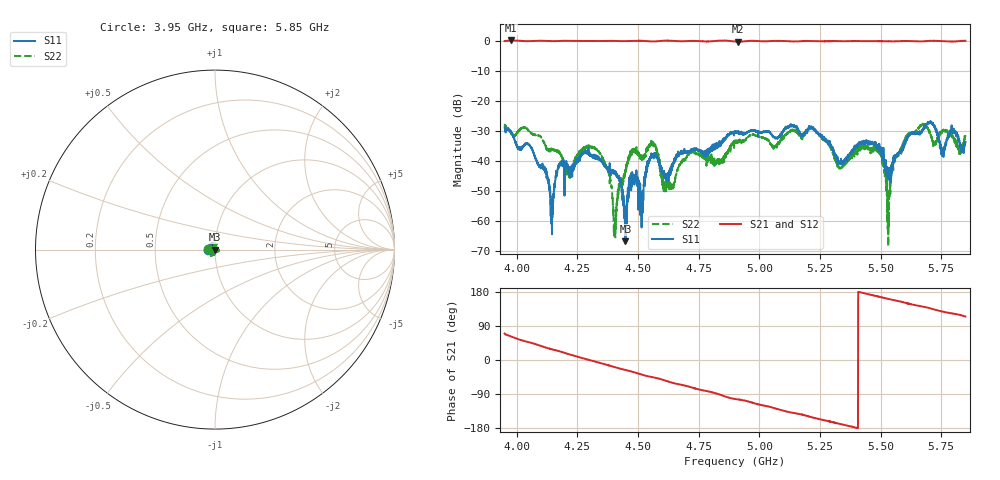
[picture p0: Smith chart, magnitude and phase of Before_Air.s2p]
# GHZ S RI R 50.000000000000
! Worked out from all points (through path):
!   4501 points, 3.95 GHz to 5.85 GHz, reference 50 ohm
!   highest |S21| = 0.06 dB at 3.977 GHz (marker M1); lowest = -0.3 dB at 4.913 GHz (marker M2)
!   group delay of S21, straight-line fit = 451 ps
!   lowest |S11| = -66.6 dB at 4.448 GHz (marker M3), VSWR 1.00, Z = 50 - j0.0173 ohm
!   |S11| at or under -10 dB: start of sweep to end of sweep
!   |S22| runs from -68.3 to -27.4 dB; largest |S21 - S12| = 0.051
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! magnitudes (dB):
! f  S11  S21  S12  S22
! 3.95 GHz  -28.7  -0.1  -0.2  -28.0
! 3.977 GHz  -30.2  0.1  0.0  -30.5
! 4.113 GHz  -42.2  -0.1  -0.1  -34.1
! 4.144 GHz  -58.9  -0.2  -0.2  -36.2
! 4.177 GHz  -41.5  -0.1  -0.1  -37.7
! 4.267 GHz  -38.1  -0.1  -0.1  -36.6
! 4.356 GHz  -40.9  -0.1  -0.1  -39.4
! 4.405 GHz  -43.3  -0.1  -0.1  -65.7
! 4.448 GHz  -66.6  -0.2  -0.2  -44.3
! 4.472 GHz  -46.3  -0.1  -0.1  -38.1
! 4.514 GHz  -57.6  -0.1  -0.1  -38.7
! 4.548 GHz  -39.4  -0.2  -0.2  -34.5
! 4.584 GHz  -39.9  -0.2  -0.2  -38.5
! 4.638 GHz  -41.8  0.0  0.0  -49.0
! 4.9 GHz  -30.4  -0.3  -0.2  -33.4
! 4.913 GHz  -30.2  -0.3  -0.3  -33.2
! 5.217 GHz  -28.9  -0.1  -0.1  -29.3
! 5.334 GHz  -40.2  -0.2  -0.2  -42.5
! 5.489 GHz  -34.9  -0.1  -0.1  -36.0
! 5.534 GHz  -43.8  -0.2  -0.1  -57.0
! 5.617 GHz  -31.8  -0.1  -0.1  -30.9
! 5.85 GHz  -33.7  -0.1  0.0  -31.5
